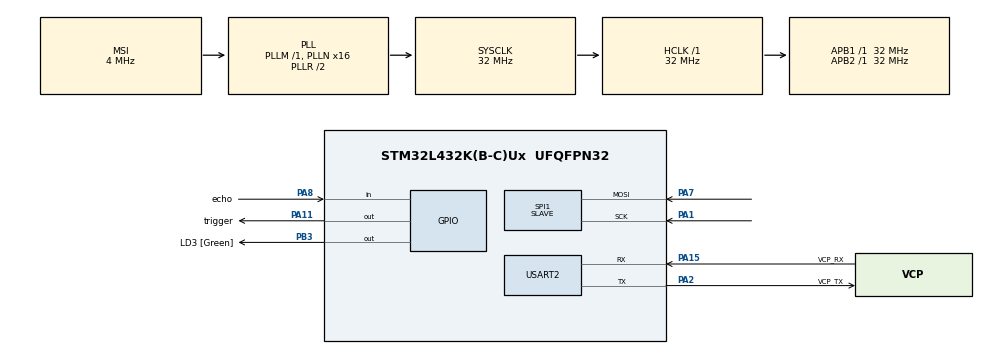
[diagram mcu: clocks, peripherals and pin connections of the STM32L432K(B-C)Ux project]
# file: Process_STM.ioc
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Mcu.Family=STM32L4
Mcu.Name=STM32L432K(B-C)Ux
Mcu.Package=UFQFPN32
NVIC.PriorityGroup=NVIC_PRIORITYGROUP_4
NVIC.USART2_IRQn=true\:0\:0\:false\:false\:true\:true\:true\:true
PA0.GPIO_Label=MCO [High speed clock in]
PA0.Mode=HSE-External-Clock-Source-for-LittleOrca
PA0.Signal=RCC_CK_IN
PA1.Mode=RX_Only_Simplex_Unidirect_Slave
PA1.Signal=SPI1_SCK
PA11.GPIO_Label=trigger
PA11.Signal=GPIO_Output
PA13\ (JTMS-SWDIO).GPIO_Label=SWDIO
PA13\ (JTMS-SWDIO).Mode=Serial_Wire
PA13\ (JTMS-SWDIO).Signal=SYS_JTMS-SWDIO
PA14\ (JTCK-SWCLK).GPIO_Label=SWCLK
PA14\ (JTCK-SWCLK).Mode=Serial_Wire
PA14\ (JTCK-SWCLK).Signal=SYS_JTCK-SWCLK
PA15\ (JTDI).GPIO_Label=VCP_RX
PA15\ (JTDI).Mode=Asynchronous
PA15\ (JTDI).Signal=USART2_RX
PA2.GPIO_Label=VCP_TX
PA2.Mode=Asynchronous
PA2.Signal=USART2_TX
PA7.Mode=RX_Only_Simplex_Unidirect_Slave
PA7.Signal=SPI1_MOSI
PA8.GPIO_Label=echo
PA8.Signal=GPIO_Input
PB3\ (JTDO-TRACESWO).GPIO_Label=LD3 [Green]
PB3\ (JTDO-TRACESWO).Signal=GPIO_Output
PC14-OSC32_IN\ (PC14).Mode=LSE-External-Oscillator
PC14-OSC32_IN\ (PC14).Signal=RCC_OSC32_IN
PC15-OSC32_OUT\ (PC15).Mode=LSE-External-Oscillator
PC15-OSC32_OUT\ (PC15).Signal=RCC_OSC32_OUT
ProjectManager.HeapSize=0x200
ProjectManager.StackSize=0x400
ProjectManager.TargetToolchain=STM32CubeIDE
RCC.AHBFreq_Value=32000000
RCC.APB1Freq_Value=32000000
RCC.APB1TimFreq_Value=32000000
RCC.APB2Freq_Value=32000000
RCC.APB2TimFreq_Value=32000000
RCC.CortexFreq_Value=32000000
RCC.HCLKFreq_Value=32000000
RCC.HSE_VALUE=8000000
RCC.HSI16_VALUE=16000000
RCC.HSI48_VALUE=48000000
RCC.HSI_VALUE=16000000
RCC.MSI_VALUE=4000000
RCC.PLLMUL=RCC_PLLMUL_4
RCC.PLLN=16
RCC.SYSCLKFreq_VALUE=32000000
RCC.SYSCLKSource=RCC_SYSCLKSOURCE_PLLCLK
RCC.VCOOutputFreq_Value=64000000
SPI1.DataSize=SPI_DATASIZE_8BIT
SPI1.Direction=SPI_DIRECTION_2LINES_RXONLY
SPI1.Mode=SPI_MODE_SLAVE
SPI1.VirtualType=VM_SLAVE
TIM16.Prescaler=31
USART2.VirtualMode-Asynchronous=VM_ASYNC
VP_TIM16_VS_ClockSourceINT.Mode=Enable_Timer
board=NUCLEO-L432KC

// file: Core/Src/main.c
/* USER CODE BEGIN Header */
/**
  ******************************************************************************
  * @file           : main.c
  * @brief          : Main program body
  ******************************************************************************
  * @attention
  *
  * Copyright (c) 2026 STMicroelectronics.
  * All rights reserved.
  *
  * This software is licensed under terms that can be found in the LICENSE file
  * in the root directory of this software component.
  * If no LICENSE file comes with this software, it is provided AS-IS.
  *
  ******************************************************************************
  */
/* USER CODE END Header */
#include "main.h"

SPI_HandleTypeDef hspi1;

TIM_HandleTypeDef htim16;

UART_HandleTypeDef huart2;

/* USER CODE BEGIN PV */
#define moving_length 2
uint8_t average_array[moving_length] = {0};
int is_distanceTrigger = 0;
int is_sendValid = 1;
uint8_t comp_buffer;
uint8_t audio_buffer;
/* USER CODE END PV */

void SystemClock_Config(void);
static void MX_GPIO_Init(void);
static void MX_USART2_UART_Init(void);
static void MX_TIM16_Init(void);
static void MX_SPI1_Init(void);

/* USER CODE BEGIN 0 */
uint8_t get_average(uint8_t array[], int len){
    uint16_t sum = 0;
    for (int i = 0; i < len; i++){
        sum += array[i];
    }
    uint8_t average = sum/len;
    return (uint8_t)average;
}

void change_array(uint8_t array[], int len, uint8_t value){
    for(int i = 1; i < len; i++){
        array[i-1] = array[i];
    }
    array[len-1] = value;
}

void HAL_SPI_RxCpltCallback(SPI_HandleTypeDef *hspi){
	if (is_sendValid == 1){
		change_array(average_array, moving_length, audio_buffer);
		uint8_t val = get_average(average_array, moving_length);
		HAL_UART_Transmit(&huart2, &val, 1, HAL_MAX_DELAY);
	}
}

void HAL_UART_RxCpltCallback(UART_HandleTypeDef *huart){
	if (huart == &huart2){
		HAL_UART_Receive_IT(&huart2, &comp_buffer, sizeof(comp_buffer));
		if (comp_buffer == '1'){
			is_distanceTrigger = 1;
		}
		else{
			is_distanceTrigger = 0;
			is_sendValid = 1;
		}
	}//else{
		//if(is_sendValid == 1){
			//change_array(average_array, moving_length, audio_buffer);
			//uint8_t val = get_average(average_array, moving_length);
			//HAL_UART_Transmit(&huart2, &val, 1, HAL_MAX_DELAY);
		//}
		//HAL_UART_Receive_IT(&huart1, &audio_buffer, sizeof(audio_buffer));

	//}

}
/* USER CODE END 0 */

int main(void)
{

  /* MCU Configuration--------------------------------------------------------*/

  /* Reset of all peripherals, Initializes the Flash interface and the Systick. */
  HAL_Init();

  /* Configure the system clock */
  SystemClock_Config();

  /* Initialize all configured peripherals */
  MX_GPIO_Init();
  MX_USART2_UART_Init();
  MX_TIM16_Init();
  MX_SPI1_Init();

  /* Infinite loop */
  /* USER CODE BEGIN WHILE */

  float time = 0;
  float distance = 0;

  HAL_TIM_Base_Start(&htim16);
  __HAL_TIM_SET_COUNTER(&htim16, 0);
  HAL_UART_Receive_IT(&huart2, &comp_buffer, sizeof(comp_buffer));
  //HAL_UART_Receive_IT(&huart1, &audio_buffer, sizeof(audio_buffer));
  HAL_SPI_Receive_IT(&hspi1, &audio_buffer, sizeof(audio_buffer));

  while (1)
  {
	if (is_distanceTrigger == 1){
	  if (__HAL_TIM_GET_COUNTER(&htim16) <= 10){
		  HAL_GPIO_WritePin(trigger_GPIO_Port, trigger_Pin, 1);
	  } else{
		  HAL_GPIO_WritePin(trigger_GPIO_Port, trigger_Pin, 0);
		  if (HAL_GPIO_ReadPin(echo_GPIO_Port, echo_Pin) == 1){
			  __HAL_TIM_SET_COUNTER(&htim16, 0);
			  while(HAL_GPIO_ReadPin(echo_GPIO_Port, echo_Pin) == 1){
				  continue;
			  }
			  time = __HAL_TIM_GET_COUNTER(&htim16);
			  distance = (time/58.309);
			  if (distance < 10){
				  	  HAL_GPIO_WritePin(LD3_GPIO_Port, LD3_Pin, 1);
				  	  is_sendValid = 1;
				  } else {
					  HAL_GPIO_WritePin(LD3_GPIO_Port, LD3_Pin, 0);
					  is_sendValid = 0;
				  }
			  __HAL_TIM_SET_COUNTER(&htim16, 0);
			  while (__HAL_TIM_GET_COUNTER(&htim16) < 60000) {
			  		continue;
			  }

			  __HAL_TIM_SET_COUNTER(&htim16, 0);
			  }

		  }
	  }
  }

    /* USER CODE END WHILE */

}

void SystemClock_Config(void)
{
  RCC_OscInitTypeDef RCC_OscInitStruct = {0};
  RCC_ClkInitTypeDef RCC_ClkInitStruct = {0};

  /** Configure the main internal regulator output voltage
  */
  if (HAL_PWREx_ControlVoltageScaling(PWR_REGULATOR_VOLTAGE_SCALE1) != HAL_OK)
  {
    Error_Handler();
  }

  /** Configure LSE Drive Capability
  */
  HAL_PWR_EnableBkUpAccess();
  __HAL_RCC_LSEDRIVE_CONFIG(RCC_LSEDRIVE_LOW);

  /** Initializes the RCC Oscillators according to the specified parameters
  * in the RCC_OscInitTypeDef structure.
  */
  RCC_OscInitStruct.OscillatorType = RCC_OSCILLATORTYPE_LSE|RCC_OSCILLATORTYPE_MSI;
  RCC_OscInitStruct.LSEState = RCC_LSE_ON;
  RCC_OscInitStruct.MSIState = RCC_MSI_ON;
  RCC_OscInitStruct.MSICalibrationValue = 0;
  RCC_OscInitStruct.MSIClockRange = RCC_MSIRANGE_6;
  RCC_OscInitStruct.PLL.PLLState = RCC_PLL_ON;
  RCC_OscInitStruct.PLL.PLLSource = RCC_PLLSOURCE_MSI;
  RCC_OscInitStruct.PLL.PLLM = 1;
  RCC_OscInitStruct.PLL.PLLN = 16;
  RCC_OscInitStruct.PLL.PLLP = RCC_PLLP_DIV7;
  RCC_OscInitStruct.PLL.PLLQ = RCC_PLLQ_DIV2;
  RCC_OscInitStruct.PLL.PLLR = RCC_PLLR_DIV2;
  if (HAL_RCC_OscConfig(&RCC_OscInitStruct) != HAL_OK)
  {
    Error_Handler();
  }

  /** Initializes the CPU, AHB and APB buses clocks
  */
  RCC_ClkInitStruct.ClockType = RCC_CLOCKTYPE_HCLK|RCC_CLOCKTYPE_SYSCLK
                              |RCC_CLOCKTYPE_PCLK1|RCC_CLOCKTYPE_PCLK2;
  RCC_ClkInitStruct.SYSCLKSource = RCC_SYSCLKSOURCE_PLLCLK;
  RCC_ClkInitStruct.AHBCLKDivider = RCC_SYSCLK_DIV1;
  RCC_ClkInitStruct.APB1CLKDivider = RCC_HCLK_DIV1;
  RCC_ClkInitStruct.APB2CLKDivider = RCC_HCLK_DIV1;

  if (HAL_RCC_ClockConfig(&RCC_ClkInitStruct, FLASH_LATENCY_1) != HAL_OK)
  {
    Error_Handler();
  }

  /** Enable MSI Auto calibration
  */
  HAL_RCCEx_EnableMSIPLLMode();
}

static void MX_SPI1_Init(void)
{

  /* SPI1 parameter configuration*/
  hspi1.Instance = SPI1;
  hspi1.Init.Mode = SPI_MODE_SLAVE;
  hspi1.Init.Direction = SPI_DIRECTION_2LINES_RXONLY;
  hspi1.Init.DataSize = SPI_DATASIZE_8BIT;
  hspi1.Init.CLKPolarity = SPI_POLARITY_LOW;
  hspi1.Init.CLKPhase = SPI_PHASE_1EDGE;
  hspi1.Init.NSS = SPI_NSS_SOFT;
  hspi1.Init.FirstBit = SPI_FIRSTBIT_MSB;
  hspi1.Init.TIMode = SPI_TIMODE_DISABLE;
  hspi1.Init.CRCCalculation = SPI_CRCCALCULATION_DISABLE;
  hspi1.Init.CRCPolynomial = 7;
  hspi1.Init.CRCLength = SPI_CRC_LENGTH_DATASIZE;
  hspi1.Init.NSSPMode = SPI_NSS_PULSE_DISABLE;
  if (HAL_SPI_Init(&hspi1) != HAL_OK)
  {
    Error_Handler();
  }

}

static void MX_TIM16_Init(void)
{

  htim16.Instance = TIM16;
  htim16.Init.Prescaler = 31;
  htim16.Init.CounterMode = TIM_COUNTERMODE_UP;
  htim16.Init.Period = 65535;
  htim16.Init.ClockDivision = TIM_CLOCKDIVISION_DIV1;
  htim16.Init.RepetitionCounter = 0;
  htim16.Init.AutoReloadPreload = TIM_AUTORELOAD_PRELOAD_DISABLE;
  if (HAL_TIM_Base_Init(&htim16) != HAL_OK)
  {
    Error_Handler();
  }

}

static void MX_USART2_UART_Init(void)
{

  huart2.Instance = USART2;
  huart2.Init.BaudRate = 115200;
  huart2.Init.WordLength = UART_WORDLENGTH_8B;
  huart2.Init.StopBits = UART_STOPBITS_1;
  huart2.Init.Parity = UART_PARITY_NONE;
  huart2.Init.Mode = UART_MODE_TX_RX;
  huart2.Init.HwFlowCtl = UART_HWCONTROL_NONE;
  huart2.Init.OverSampling = UART_OVERSAMPLING_16;
  huart2.Init.OneBitSampling = UART_ONE_BIT_SAMPLE_DISABLE;
  huart2.AdvancedInit.AdvFeatureInit = UART_ADVFEATURE_NO_INIT;
  if (HAL_UART_Init(&huart2) != HAL_OK)
  {
    Error_Handler();
  }

}

static void MX_GPIO_Init(void)
{
  GPIO_InitTypeDef GPIO_InitStruct = {0};

  /* GPIO Ports Clock Enable */
  __HAL_RCC_GPIOC_CLK_ENABLE();
  __HAL_RCC_GPIOA_CLK_ENABLE();
  __HAL_RCC_GPIOB_CLK_ENABLE();

  /*Configure GPIO pin Output Level */
  HAL_GPIO_WritePin(trigger_GPIO_Port, trigger_Pin, GPIO_PIN_RESET);

  /*Configure GPIO pin Output Level */
  HAL_GPIO_WritePin(LD3_GPIO_Port, LD3_Pin, GPIO_PIN_RESET);

  /*Configure GPIO pin : echo_Pin */
  GPIO_InitStruct.Pin = echo_Pin;
  GPIO_InitStruct.Mode = GPIO_MODE_INPUT;
  GPIO_InitStruct.Pull = GPIO_NOPULL;
  HAL_GPIO_Init(echo_GPIO_Port, &GPIO_InitStruct);

  /*Configure GPIO pin : trigger_Pin */
  GPIO_InitStruct.Pin = trigger_Pin;
  GPIO_InitStruct.Mode = GPIO_MODE_OUTPUT_PP;
  GPIO_InitStruct.Pull = GPIO_NOPULL;
  GPIO_InitStruct.Speed = GPIO_SPEED_FREQ_LOW;
  HAL_GPIO_Init(trigger_GPIO_Port, &GPIO_InitStruct);

  /*Configure GPIO pin : LD3_Pin */
  GPIO_InitStruct.Pin = LD3_Pin;
  GPIO_InitStruct.Mode = GPIO_MODE_OUTPUT_PP;
  GPIO_InitStruct.Pull = GPIO_NOPULL;
  GPIO_InitStruct.Speed = GPIO_SPEED_FREQ_LOW;
  HAL_GPIO_Init(LD3_GPIO_Port, &GPIO_InitStruct);

}

void Error_Handler(void)
{
  __disable_irq();
  while (1)
  {
  }
}
